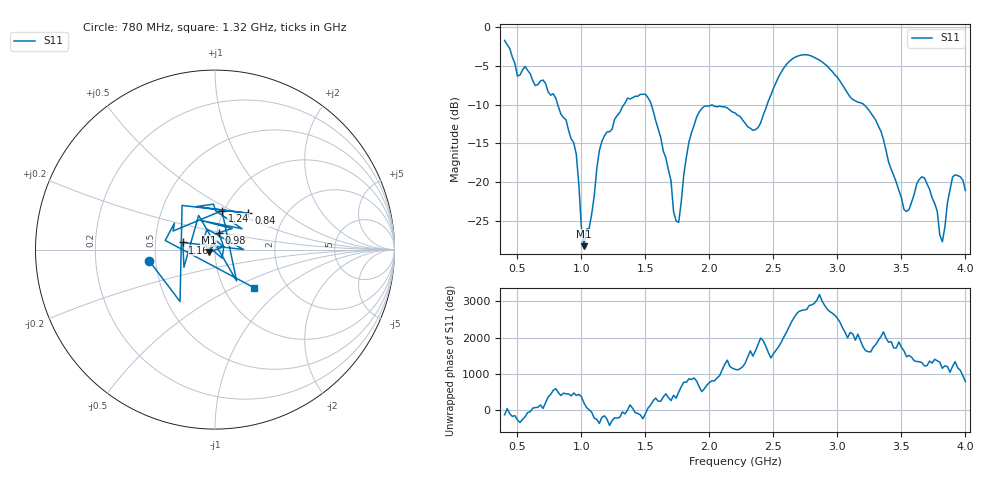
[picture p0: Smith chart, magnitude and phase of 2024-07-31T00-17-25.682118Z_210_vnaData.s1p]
!Created with skrf (http://scikit-rf.org).
# Hz S RI R 50.0
!freq ReS11 ImS11
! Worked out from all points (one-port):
!   181 points, 400 MHz to 4 GHz, reference 50 ohm
!   lowest |S11| = -28.3 dB at 1.02 GHz (marker M1), VSWR 1.08, Z = 46.6 - j1.44 ohm
!   |S11| at or under -10 dB: 815.4 MHz to 1.331 GHz (516.1 MHz wide, 48.1 % of centre); 1.547 GHz to 2.02 GHz (473.4 MHz wide, 26.5 % of centre); 3.208 GHz to end of sweep (the widest 3 of 4)
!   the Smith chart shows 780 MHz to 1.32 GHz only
!   S11 on the Smith chart (normalised r, x): 780 MHz: 0.46, -0.07; 840 MHz: 1.31, +0.58; 980 MHz: 1.02, +0.19; 1.16 GHz: 0.69, +0.06; 1.24 GHz: 0.98, +0.45; 1.32 GHz: 1.38, -0.65
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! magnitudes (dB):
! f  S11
! 400 MHz  -1.7
! 500 MHz  -6.3
! 780 MHz  -8.6
! 840 MHz  -11.2
! 860 MHz  -11.7
! 940 MHz  -14.9
! 980 MHz  -20.3
! 1.02 GHz  -28.3
! 1.16 GHz  -14.7
! 1.24 GHz  -13.1
! 1.3 GHz  -11.0
! 1.32 GHz  -10.3
! 1.54 GHz  -9.6
! 1.76 GHz  -25.2
! 1.84 GHz  -14.8
! 1.92 GHz  -10.9
! 2.2 GHz  -11.0
! 2.38 GHz  -12.9
! 2.66 GHz  -3.9
! 2.88 GHz  -4.5
! 3.1 GHz  -9.0
! 3.3 GHz  -12.0
! 3.52 GHz  -23.5
! 3.56 GHz  -23.5
! 3.68 GHz  -19.5
! 3.82 GHz  -27.7
! 3.9 GHz  -19.3
! 4 GHz  -21.1
